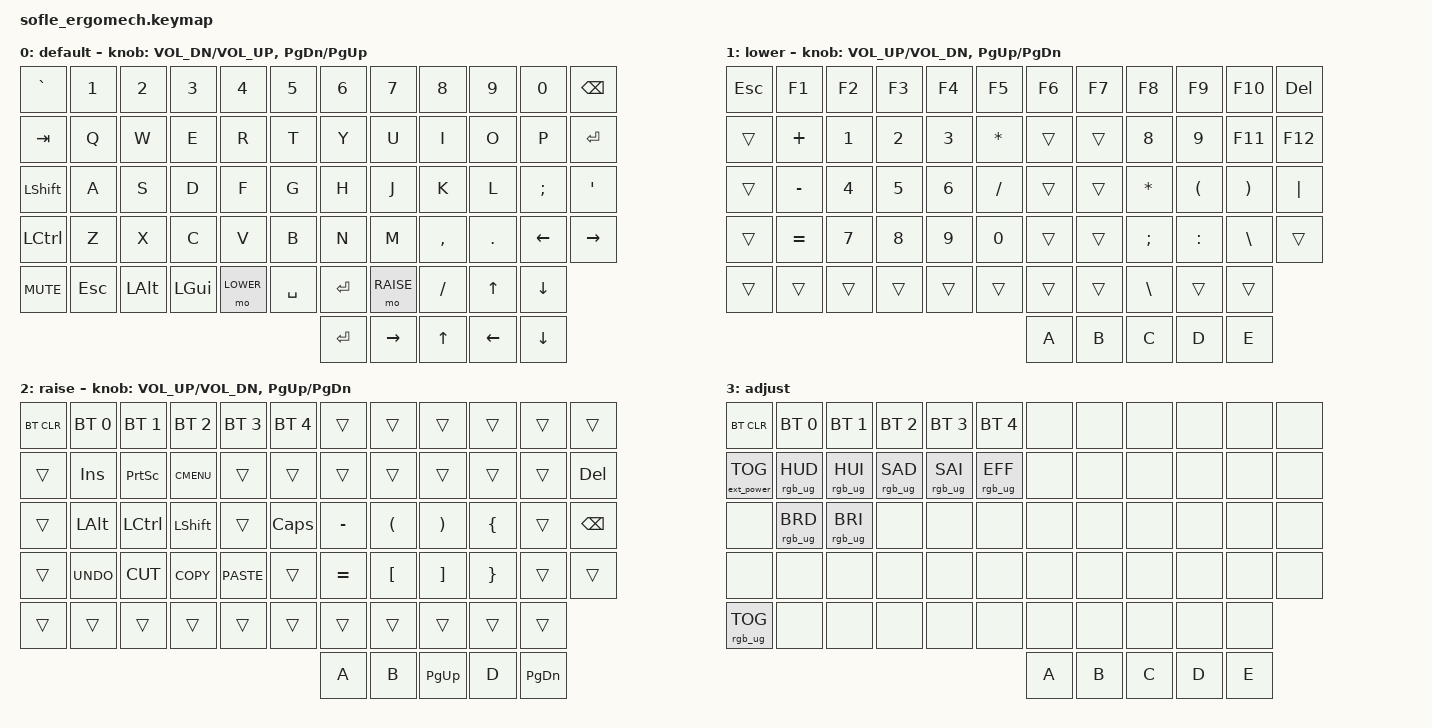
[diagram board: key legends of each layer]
/*
 * Copyright (c) 2020 The ZMK Contributors
 *
 * SPDX-License-Identifier: MIT
 */

#include <behaviors.dtsi>
#include <dt-bindings/zmk/bt.h>
#include <dt-bindings/zmk/ext_power.h>
#include <dt-bindings/zmk/keys.h>
#include <dt-bindings/zmk/rgb.h>

#define BASE 0
#define LOWER 1
#define RAISE 2
#define ADJUST 3

/ {
    // Activate ADJUST layer by pressing raise and lower

    conditional_layers {
        compatible = "zmk,conditional-layers";

        adjust_layer {
            if-layers = <LOWER RAISE>;
            then-layer = <ADJUST>;
        };
    };

    keymap {
        compatible = "zmk,keymap";

        default_layer {
            label = "default";

            // ------------------------------------------------------------------------------------------------------------
            // |  `    |  1  |  2  |  3   |  4   |  5   |                   |  6   |  7   |  8    |  9   |   0   | BKSPC |
            // |  TAB  |  Q  |  W  |  E   |  R   |  T   |                   |  Y   |  U   |  I    |  O   |   P   | ENTER |
            // | SHIFT |  A  |  S  |  D   |  F   |  G   |                   |  H   |  J   |  K    |  L   |   ;   |   '   |
            // | CTRL  |  Z  |  X  |  C   |  V   |  B   |  MUTE  |  |       |  N   |  M   |  ,    |  .   |  LEFT | RIGHT |
            //               | ESC | ALT  | GUI  | LOWER| SPACE  |  | RAISE | ENTER|  /   | UP   | DOWN  |

            bindings = <
&kp GRAVE  &kp N1    &kp N2    &kp N3     &kp N4    &kp N5    &kp N6     &kp N7     &kp N8       &kp N9    &kp N0    &kp BSPC
&kp TAB    &kp Q     &kp W     &kp E      &kp R     &kp T     &kp Y      &kp U      &kp I        &kp O     &kp P     &kp ENTER
&kp LSHFT  &kp A     &kp S     &kp D      &kp F     &kp G     &kp H      &kp J      &kp K        &kp L     &kp SEMI  &kp SQT
&kp LCTRL  &kp Z     &kp X     &kp C      &kp V     &kp B     &kp N      &kp M      &kp COMMA    &kp DOT   &kp LEFT  &kp RIGHT
&kp C_MUTE &kp ESC   &kp LALT  &kp LGUI   &mo LOWER &kp SPACE &kp RET    &mo RAISE  &kp FSLH     &kp UP_ARROW  &kp DOWN
                                                               &kp ENTER  &kp RIGHT  &kp UP_ARROW &kp LEFT  &kp DOWN
            >;

            sensor-bindings = <&inc_dec_kp C_VOL_DN C_VOL_UP &inc_dec_kp PG_DN
PG_UP>;
        };

        lower_layer {
            label = "lower";

            // TODO: Some binds are waiting for shifted keycode support.
            // ------------------------------------------------------------------------------------------------------------
            // |  F1 |  F2 |  F3  |  F4  |  F5  |                          |  F6  |  F7   |  F8   |  F9  |  F10  |  DEL  |
            // |     |  +  |  1   |  2   |  3   |  *   |                   |  6   |  7    |  8    |  9   |   F11 |  F12  |
            // |     |  -  |  4   |  5   |  6   |  %   |                   |  ^   |  &    |  *    |  (   |   )   |   |   |
            // |     |  =  |  7   |  8   |  9   |  0   |        |  |       |  [   |  ]    |  ;    |  :   |      |       |
            //             |      |      |      |      |        |  |       |      |   \   |       |      |

            bindings = <
&kp ESC    &kp F1     &kp F2    &kp F3   &kp F4   &kp F5     &kp F6  &kp F7  &kp F8     &kp F9     &kp F10   &kp DEL
&trans     &kp PLUS   &kp N1    &kp N2   &kp N3   &kp STAR   &trans  &trans  &kp N8     &kp N9     &kp F11   &kp F12
&trans     &kp MINUS  &kp N4    &kp N5   &kp N6   &kp SLASH  &trans  &trans  &kp ASTRK  &kp LPAR   &kp RPAR  &kp PIPE
&trans     &kp EQUAL  &kp N7    &kp N8   &kp N9   &kp N0     &trans  &trans  &kp SEMI   &kp COLON  &kp BSLH  &trans
&trans     &trans     &trans    &trans   &trans   &trans     &trans  &trans  &kp BSLH     &trans     &trans
                                                             &kp A      &kp B     &kp C      &kp D      &kp E
            >;

            sensor-bindings = <&inc_dec_kp C_VOL_UP C_VOL_DN &inc_dec_kp PG_UP PG_DN>;
        };

        raise_layer {
            label = "raise";

            // ------------------------------------------------------------------------------------------------------------
            // | BTCLR | BT1  | BT2  |  BT3  |  BT4  |  BT5 |                |      |      |      |      |       |       |
            // |       | INS  | PSCR | GUI   |       |      |                |      |      |      |      |       |       |
            // |       | ALT  | CTRL | SHIFT |       | CAPS |                |  -   |  (   |   )  |  {   |  DEL  | BKSPC |
            // |       | UNDO | CUT  | COPY  | PASTE |      |      |  |      |  =   |  [   |  ]   |   }  |       |       |
            //                |      |       |       |      |      |  |      |      |      |       |      |

            bindings = <
&bt BT_CLR  &bt BT_SEL 0  &bt BT_SEL 1  &bt BT_SEL 2  &bt BT_SEL 3  &bt BT_SEL 4  &trans     &trans    &trans    &trans     &trans   &trans
&trans      &kp INS       &kp PSCRN     &kp K_CMENU   &trans        &trans        &trans     &trans    &trans    &trans     &trans   &kp DEL
&trans      &kp LALT      &kp LCTRL     &kp LSHFT     &trans        &kp CLCK      &kp MINUS  &kp LPAR  &kp RPAR  &kp LBRC   &trans   &kp BSPC
&trans      &kp K_UNDO    &kp K_CUT     &kp K_COPY    &kp K_PASTE   &trans        &kp EQUAL  &kp LBKT  &kp RBKT  &kp RBRC   &trans   &trans
&trans      &trans        &trans        &trans        &trans        &trans        &trans     &trans    &trans    &trans     &trans
                                                                                  &kp A      &kp B     &kp PG_UP  &kp D   &kp PG_DN
            >;

            sensor-bindings = <&inc_dec_kp C_VOL_UP C_VOL_DN &inc_dec_kp PG_UP PG_DN>;
        };

        adjust_layer {
            // ----------------------------------------------------------------------------------------------------------------------------
            // | BTCLR  |  BT1    |  BT2    |   BT3   |   BT4   |   BT5   |                  |      |      |       |      |       |       |
            // | EXTPWR | RGB_HUD | RGB_HUI | RGB_SAD | RGB_SAI | RGB_EFF |                  |      |      |       |      |       |       |
            // |        | RGB_BRD | RGB_BRI |         |         |         |                  |      |      |       |      |       |       |
            // |        |         |         |         |         |         | RGB_TOG | |      |      |      |       |      |       |       |
            //                    |         |         |         |         |         | |      |      |      |       |      |

            label = "adjust";
            bindings = <
&bt BT_CLR         &bt BT_SEL 0     &bt BT_SEL 1     &bt BT_SEL 2     &bt BT_SEL 3     &bt BT_SEL 4     &none  &none  &none  &none  &none  &none
&ext_power EP_TOG  &rgb_ug RGB_HUD  &rgb_ug RGB_HUI  &rgb_ug RGB_SAD  &rgb_ug RGB_SAI  &rgb_ug RGB_EFF  &none  &none  &none  &none  &none  &none
&none              &rgb_ug RGB_BRD  &rgb_ug RGB_BRI  &none            &none            &none            &none  &none  &none  &none  &none  &none
&none              &none            &none            &none            &none            &none            &none  &none  &none  &none  &none  &none
&rgb_ug RGB_TOG    &none            &none            &none            &none            &none            &none  &none  &none  &none  &none
                                                                                                        &kp A  &kp B  &kp C  &kp D  &kp E
            >;
        };
    };
};
